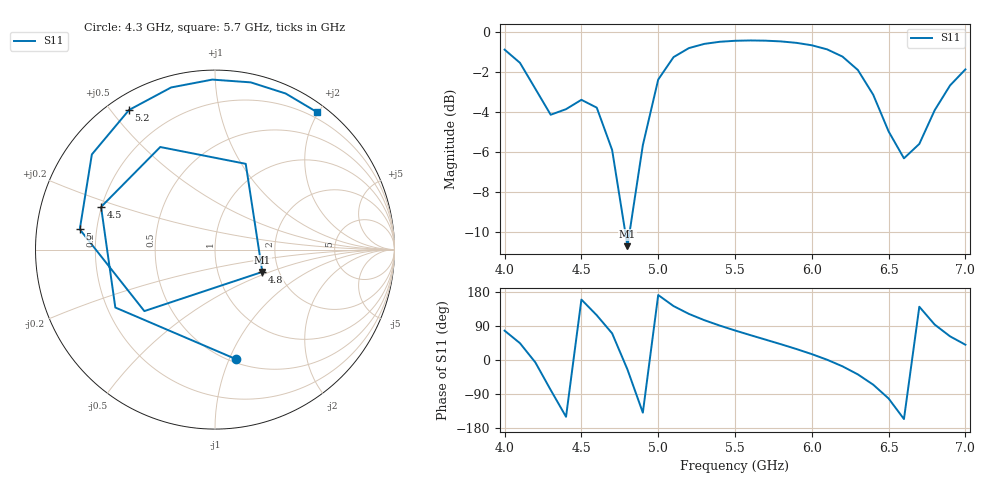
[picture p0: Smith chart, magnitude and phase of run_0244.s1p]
! Touchstone file exported from HFSS 2024.2.0
!  File:  C:/Users/wsak9/Desktop/Sim Fast/Widenad Patch/WP_AI_V1_sweep.aedt
!  Generated:  01:15:26 AM Oct 14, 2026
!  Design:  A1_model
!  Project:  WP_AI_V1_sweep
!  Setup:  Setup1
!  Solution:  Sweep
! Variables:
!  Air_gap = 1.67mm
!  Curve_Amp1 = 3
!  Curve_len1 = 1
!  Curve_pos = 11.92mm
!  Extra = 5.85mm
!  H_sub = 0.79mm
!  L_Patch = 19.84mm
!  L_Patch1 = 14.34mm
!  Sx = 1.28mm
!  Sy = 4.61mm
!  WS = 0.37mm
!  W_Patch = 13.55mm
!  W_Patch1 = 8.49mm
!Data is not renormalized
# GHz S MA
! Terminal data exported
! Port[1] = 1
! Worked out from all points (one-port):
!   31 points, 4 GHz to 7 GHz, reference per port
!   lowest |S11| = -10.7 dB at 4.8 GHz (marker M1), VSWR 1.82
!   |S11| at or under -10 dB: 4.785 GHz to 4.814 GHz (28.71 MHz wide, 0.598 % of centre)
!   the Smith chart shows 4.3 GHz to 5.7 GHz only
!   S11 on the Smith chart (normalised r, x): 4.3 GHz: 0.53, -1.06; 4.5 GHz: 0.20, +0.17; 4.8 GHz: 1.64, -0.45; 5 GHz: 0.14, +0.07; 5.2 GHz: 0.06, +0.56; 5.7 GHz: 0.12, +1.97
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4  0.9053 77.5
4.1  0.8391 44.3
4.2  0.7225 -6.3
4.3  0.6219 -79.1
4.4  0.6423 -149.8
4.5  0.6778 159.5
4.6  0.6479 118.1
4.7  0.5076 70.3
4.8  0.2915 -25.2
4.9  0.5218 -139.0
5  0.7618 171.5
5.1  0.8672 142.3
5.2  0.9135 121.6
5.3  0.9359 105.1
5.4  0.9473 90.9
5.5  0.9528 77.9
5.7  0.9534 53.6
5.9  0.9415 28.9
6.1  0.9067 0.6
6.2  0.8697 -16.7
6.3  0.805 -38.0
6.4  0.6979 -65.2
6.5  0.565 -101.6
6.6  0.4837 -155.8
6.7  0.5256 140.5
6.8  0.6382 93.5
6.9  0.7363 62.5
7  0.8078 40.4
